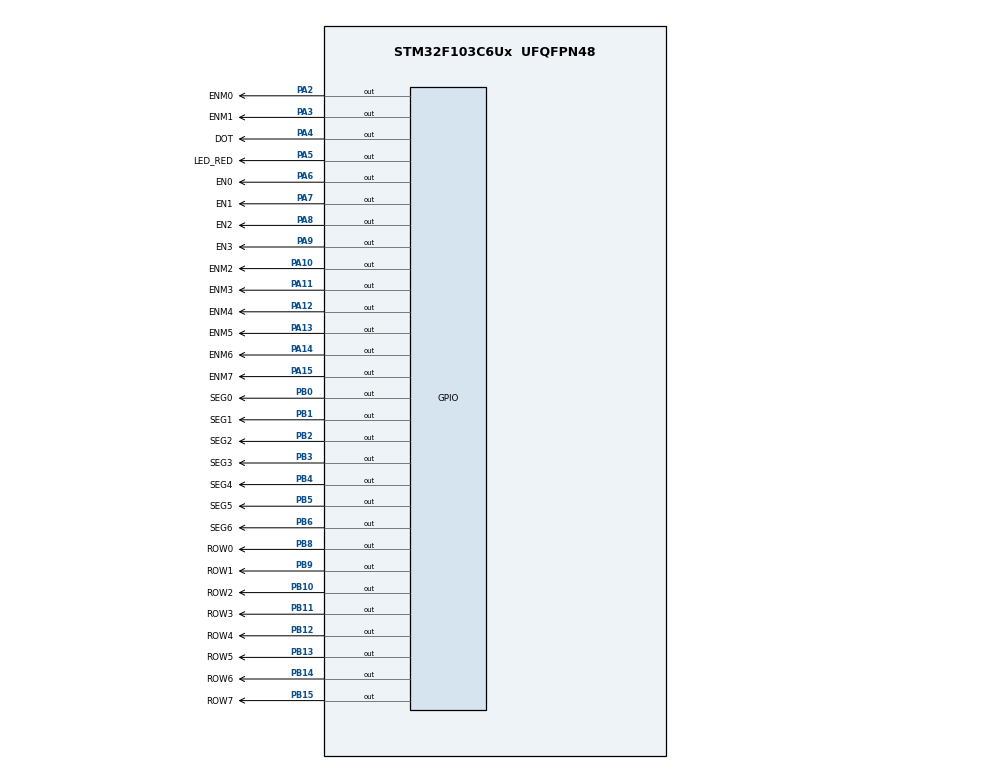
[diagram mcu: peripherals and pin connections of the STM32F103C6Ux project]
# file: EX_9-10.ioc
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Mcu.Family=STM32F1
Mcu.Name=STM32F103C6Ux
Mcu.Package=UFQFPN48
NVIC.PriorityGroup=NVIC_PRIORITYGROUP_4
NVIC.TIM2_IRQn=true\:0\:0\:false\:false\:true\:true\:true
PA10.GPIO_Label=ENM2
PA10.Signal=GPIO_Output
PA11.GPIO_Label=ENM3
PA11.Signal=GPIO_Output
PA12.GPIO_Label=ENM4
PA12.Signal=GPIO_Output
PA13.GPIO_Label=ENM5
PA13.Signal=GPIO_Output
PA14.GPIO_Label=ENM6
PA14.Signal=GPIO_Output
PA15.GPIO_Label=ENM7
PA15.Signal=GPIO_Output
PA2.GPIO_Label=ENM0
PA2.Signal=GPIO_Output
PA3.GPIO_Label=ENM1
PA3.Signal=GPIO_Output
PA4.GPIO_Label=DOT
PA4.Signal=GPIO_Output
PA5.GPIO_Label=LED_RED
PA5.Signal=GPIO_Output
PA6.GPIO_Label=EN0
PA6.Signal=GPIO_Output
PA7.GPIO_Label=EN1
PA7.Signal=GPIO_Output
PA8.GPIO_Label=EN2
PA8.Signal=GPIO_Output
PA9.GPIO_Label=EN3
PA9.Signal=GPIO_Output
PB0.GPIO_Label=SEG0
PB0.Signal=GPIO_Output
PB1.GPIO_Label=SEG1
PB1.Signal=GPIO_Output
PB10.GPIO_Label=ROW2
PB10.Signal=GPIO_Output
PB11.GPIO_Label=ROW3
PB11.Signal=GPIO_Output
PB12.GPIO_Label=ROW4
PB12.Signal=GPIO_Output
PB13.GPIO_Label=ROW5
PB13.Signal=GPIO_Output
PB14.GPIO_Label=ROW6
PB14.Signal=GPIO_Output
PB15.GPIO_Label=ROW7
PB15.Signal=GPIO_Output
PB2.GPIO_Label=SEG2
PB2.Signal=GPIO_Output
PB3.GPIO_Label=SEG3
PB3.Signal=GPIO_Output
PB4.GPIO_Label=SEG4
PB4.Signal=GPIO_Output
PB5.GPIO_Label=SEG5
PB5.Signal=GPIO_Output
PB6.GPIO_Label=SEG6
PB6.Signal=GPIO_Output
PB8.GPIO_Label=ROW0
PB8.Signal=GPIO_Output
PB9.GPIO_Label=ROW1
PB9.Signal=GPIO_Output
ProjectManager.HeapSize=0x200
ProjectManager.StackSize=0x400
ProjectManager.TargetToolchain=STM32CubeIDE
RCC.APB1Freq_Value=8000000
RCC.APB2Freq_Value=8000000
TIM2.Period=9
TIM2.Prescaler=7999
VP_SYS_VS_ND.Mode=No_Debug
VP_TIM2_VS_ClockSourceINT.Mode=Internal
board=custom

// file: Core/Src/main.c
/* USER CODE BEGIN Header */
/**
  ******************************************************************************
  * @file           : main.c
  * @brief          : Main program body
  ******************************************************************************
  * @attention
  *
  * <h2><center>&copy; Copyright (c) 2026 STMicroelectronics.
  * All rights reserved.</center></h2>
  *
  * This software component is licensed by ST under BSD 3-Clause license,
  * the "License"; You may not use this file except in compliance with the
  * License. You may obtain a copy of the License at:
  *                        opensource.org/licenses/BSD-3-Clause
  *
  ******************************************************************************
  */
/* USER CODE END Header */
#include "main.h"

/* USER CODE BEGIN PD */
#define SWITCH_TIME   250  /* 250ms per digit -> 4 digits = 1s = 1Hz scanning */
#define MATRIX_TIME   10   /* 10ms per matrix column (Exercise 9)            */
#define SHIFT_TIME    200  /* 200ms between shifts (Exercise 10)             */

#define ENABLE_SHIFT  1    /* 0 = Exercise 9 (static "A"), 1 = Exercise 10 (shift) */
/* USER CODE END PD */

TIM_HandleTypeDef htim2;

/* USER CODE BEGIN PV */
/* 7-segment clock (from Exercise 8) */
const int MAX_LED = 4;
int index_led = 0;
int led_buffer[4] = {0, 0, 0, 0};   /* filled by updateClockBuffer() */
int hour = 15, minute = 8, second = 50;

/* Exercise 10: scrolling text. The "A" followed by 8 blank columns, so the
   character leaves the screen completely before entering again from the right. */
#define SCROLL_LEN 16
const uint8_t scroll_buffer[SCROLL_LEN] = {
  0x00, 0x7C, 0x12, 0x11, 0x11, 0x12, 0x7C, 0x00,   /* "A"           */
  0x00, 0x00, 0x00, 0x00, 0x00, 0x00, 0x00, 0x00    /* blank gap     */
};
int scroll_pos = 0;   /* first column of scroll_buffer shown on the matrix */

/* LED matrix (Exercise 9) */
const int MAX_LED_MATRIX = 8;
int index_led_matrix = 0;

/* Column patterns for the letter "A". Each byte: bit r = ROWr (1 = LED on). */
uint8_t matrix_buffer[8] = {0x00, 0x7C, 0x12, 0x11, 0x11, 0x12, 0x7C, 0x00};

uint16_t ROW_PINS[8] = {ROW0_Pin, ROW1_Pin, ROW2_Pin, ROW3_Pin,
                         ROW4_Pin, ROW5_Pin, ROW6_Pin, ROW7_Pin};
uint16_t ENM_PINS[8] = {ENM0_Pin, ENM1_Pin, ENM2_Pin, ENM3_Pin,
                         ENM4_Pin, ENM5_Pin, ENM6_Pin, ENM7_Pin};
/* USER CODE END PV */

void SystemClock_Config(void);
static void MX_GPIO_Init(void);
static void MX_TIM2_Init(void);

/* USER CODE BEGIN 0 */
/* Software timers, counted down every timer interrupt (10ms)
   timer0: 1s tick for the clock and the DOT
   timer1: 250ms tick for 7-segment scanning
   timer2: 10ms tick for LED matrix column scanning (Exercise 9)
   timer3: 500ms tick for shifting the matrix (Exercise 10)      */
int timer0_counter = 0;
volatile int timer0_flag = 0;   /* volatile: set in the interrupt, read in main */
int timer1_counter = 0;
volatile int timer1_flag = 0;
int timer2_counter = 0;
volatile int timer2_flag = 0;
int timer3_counter = 0;
volatile int timer3_flag = 0;
int TIMER_CYCLE = 10;           /* timer interrupt period in ms */

void setTimer0(int duration)
{
  timer0_counter = duration / TIMER_CYCLE;
  timer0_flag = 0;
}

void setTimer1(int duration)
{
  timer1_counter = duration / TIMER_CYCLE;
  timer1_flag = 0;
}

void setTimer2(int duration)
{
  timer2_counter = duration / TIMER_CYCLE;
  timer2_flag = 0;
}

void setTimer3(int duration)
{
  timer3_counter = duration / TIMER_CYCLE;
  timer3_flag = 0;
}

void timer_run(void)
{
  if (timer0_counter > 0)
  {
    timer0_counter--;
    if (timer0_counter == 0) timer0_flag = 1;
  }
  if (timer1_counter > 0)
  {
    timer1_counter--;
    if (timer1_counter == 0) timer1_flag = 1;
  }
  if (timer2_counter > 0)
  {
    timer2_counter--;
    if (timer2_counter == 0) timer2_flag = 1;
  }
  if (timer3_counter > 0)
  {
    timer3_counter--;
    if (timer3_counter == 0) timer3_flag = 1;
  }
}

/* Common-anode 7-segment: a segment is ON when its pin is LOW.
   SEG0..SEG6 = a..g. Bit i of the table = segment i (1 = ON).            */
void display7SEG(int num)
{
  static const uint8_t SEG_TABLE[10] = {
    0x3F, /* 0 */ 0x06, /* 1 */ 0x5B, /* 2 */ 0x4F, /* 3 */ 0x66, /* 4 */
    0x6D, /* 5 */ 0x7D, /* 6 */ 0x07, /* 7 */ 0x7F, /* 8 */ 0x6F  /* 9 */
  };
  GPIO_TypeDef* const port[7] = {SEG0_GPIO_Port, SEG1_GPIO_Port, SEG2_GPIO_Port,
                                 SEG3_GPIO_Port, SEG4_GPIO_Port, SEG5_GPIO_Port,
                                 SEG6_GPIO_Port};
  const uint16_t pin[7] = {SEG0_Pin, SEG1_Pin, SEG2_Pin, SEG3_Pin,
                           SEG4_Pin, SEG5_Pin, SEG6_Pin};

  uint8_t code = (num >= 0 && num <= 9) ? SEG_TABLE[num] : 0x00; /* invalid -> blank */
  for (int i = 0; i < 7; i++)
  {
    HAL_GPIO_WritePin(port[i], pin[i], ((code >> i) & 1) ? GPIO_PIN_RESET : GPIO_PIN_SET);
  }
}

/* Show led_buffer[index] on 7-segment number 'index'.
   PNP transistors: a digit is ON when its EN pin is LOW.              */
void update7SEG(int index)
{
  /* All digits OFF first so the new number doesn't ghost on the old digit */
  HAL_GPIO_WritePin(EN0_GPIO_Port, EN0_Pin, GPIO_PIN_SET);
  HAL_GPIO_WritePin(EN1_GPIO_Port, EN1_Pin, GPIO_PIN_SET);
  HAL_GPIO_WritePin(EN2_GPIO_Port, EN2_Pin, GPIO_PIN_SET);
  HAL_GPIO_WritePin(EN3_GPIO_Port, EN3_Pin, GPIO_PIN_SET);

  switch (index)
  {
    case 0:
      display7SEG(led_buffer[0]);
      HAL_GPIO_WritePin(EN0_GPIO_Port, EN0_Pin, GPIO_PIN_RESET);
      break;
    case 1:
      display7SEG(led_buffer[1]);
      HAL_GPIO_WritePin(EN1_GPIO_Port, EN1_Pin, GPIO_PIN_RESET);
      break;
    case 2:
      display7SEG(led_buffer[2]);
      HAL_GPIO_WritePin(EN2_GPIO_Port, EN2_Pin, GPIO_PIN_RESET);
      break;
    case 3:
      display7SEG(led_buffer[3]);
      HAL_GPIO_WritePin(EN3_GPIO_Port, EN3_Pin, GPIO_PIN_RESET);
      break;
    default:
      break;
  }
}

/* Copy hour and minute into led_buffer as HH MM. */
void updateClockBuffer(void)
{
  led_buffer[0] = hour / 10;
  led_buffer[1] = hour % 10;
  led_buffer[2] = minute / 10;
  led_buffer[3] = minute % 10;
}

/* Exercise 9: display one column of matrix_buffer at a time (column scanning).
   Circuit logic (ULN2803 inverts, 100R pull-ups on the columns):
     ENMx = 1 -> ULN2803 pulls COLx LOW  -> column OFF
     ENMx = 0 -> pull-up keeps COLx HIGH -> column ON
     ROWr = 0 -> dot ON,  ROWr = 1 -> dot OFF                                  */
void updateLEDMatrix(int index)
{
  if (index < 0 || index >= MAX_LED_MATRIX) return;

  /* 1. Turn every column OFF so the previous column's data doesn't ghost */
  HAL_GPIO_WritePin(GPIOA, ENM0_Pin|ENM1_Pin|ENM2_Pin|ENM3_Pin
                          |ENM4_Pin|ENM5_Pin|ENM6_Pin|ENM7_Pin, GPIO_PIN_SET);

  /* 2. Load this column's dots onto the rows (active LOW) */
  uint8_t pattern = matrix_buffer[index];
  for (int row = 0; row < MAX_LED_MATRIX; row++)
  {
    HAL_GPIO_WritePin(GPIOB, ROW_PINS[row],
                      (pattern & (1 << row)) ? GPIO_PIN_RESET : GPIO_PIN_SET);
  }

  /* 3. Turn only the current column ON */
  HAL_GPIO_WritePin(GPIOA, ENM_PINS[index], GPIO_PIN_RESET);
}

/* Exercise 10: shift the displayed character left, wrapping around for a looping animation. */
void shiftLeftMatrix(void)
{
	scroll_pos++;
	  if (scroll_pos >= SCROLL_LEN) scroll_pos = 0;

	  for (int i = 0; i < MAX_LED_MATRIX; i++)
	  {
	    matrix_buffer[i] = scroll_buffer[(scroll_pos + i) % SCROLL_LEN];
	  }
}
/* USER CODE END 0 */

int main(void)
{

  /* MCU Configuration--------------------------------------------------------*/

  /* Reset of all peripherals, Initializes the Flash interface and the Systick. */
  HAL_Init();

  /* Configure the system clock */
  SystemClock_Config();

  /* Initialize all configured peripherals */
  MX_GPIO_Init();
  MX_TIM2_Init();
  /* USER CODE BEGIN 2 */
  /* Start with DOT and LED_RED off (HIGH = off) */
  HAL_GPIO_WritePin(DOT_GPIO_Port, DOT_Pin, GPIO_PIN_SET);
  HAL_GPIO_WritePin(LED_RED_GPIO_Port, LED_RED_Pin, GPIO_PIN_SET);

  /* Start with every matrix column OFF and every row OFF */
  HAL_GPIO_WritePin(GPIOA, ENM0_Pin|ENM1_Pin|ENM2_Pin|ENM3_Pin
                          |ENM4_Pin|ENM5_Pin|ENM6_Pin|ENM7_Pin, GPIO_PIN_SET);
  HAL_GPIO_WritePin(GPIOB, ROW0_Pin|ROW1_Pin|ROW2_Pin|ROW3_Pin
                          |ROW4_Pin|ROW5_Pin|ROW6_Pin|ROW7_Pin, GPIO_PIN_SET);

  /* Load the starting time and show the first digit */
  updateClockBuffer();
  update7SEG(index_led++);

  HAL_TIM_Base_Start_IT(&htim2);

  setTimer0(1000);          /* clock + DOT        */
  setTimer1(SWITCH_TIME);   /* 7-segment scanning */
  setTimer2(MATRIX_TIME);   /* matrix scanning    */
  setTimer3(SHIFT_TIME);    /* matrix shifting    */
  /* USER CODE END 2 */

  /* Infinite loop */
  /* USER CODE BEGIN WHILE */
  while (1)
  {
    /* Clock + DOT: every 1s (software timer 0) */
    if (timer0_flag == 1)
    {
      setTimer0(1000);
      HAL_GPIO_TogglePin(DOT_GPIO_Port, DOT_Pin);

      second++;
      if (second >= 60) { second = 0; minute++; }
      if (minute >= 60) { minute = 0; hour++; }
      if (hour >= 24)   { hour = 0; }
      updateClockBuffer();
    }

    /* 7-segment scanning: next digit every 250ms (software timer 1) */
    if (timer1_flag == 1)
    {
      setTimer1(SWITCH_TIME);
      if (index_led >= MAX_LED) index_led = 0;
      update7SEG(index_led++);
    }

    /* Exercise 9: LED matrix scanning, next column every 10ms (software timer 2) */
    if (timer2_flag == 1)
    {
      setTimer2(MATRIX_TIME);
      updateLEDMatrix(index_led_matrix++);
      if (index_led_matrix >= MAX_LED_MATRIX) index_led_matrix = 0;
    }

#if ENABLE_SHIFT
    /* Exercise 10: shift the character left every 500ms (software timer 3) */
    if (timer3_flag == 1)
    {
      setTimer3(SHIFT_TIME);
      shiftLeftMatrix();
    }
#endif
    /* USER CODE END WHILE */

  }
}

void SystemClock_Config(void)
{
  RCC_OscInitTypeDef RCC_OscInitStruct = {0};
  RCC_ClkInitTypeDef RCC_ClkInitStruct = {0};

  /** Initializes the RCC Oscillators according to the specified parameters
  * in the RCC_OscInitTypeDef structure.
  */
  RCC_OscInitStruct.OscillatorType = RCC_OSCILLATORTYPE_HSI;
  RCC_OscInitStruct.HSIState = RCC_HSI_ON;
  RCC_OscInitStruct.HSICalibrationValue = RCC_HSICALIBRATION_DEFAULT;
  RCC_OscInitStruct.PLL.PLLState = RCC_PLL_NONE;
  if (HAL_RCC_OscConfig(&RCC_OscInitStruct) != HAL_OK)
  {
    Error_Handler();
  }
  /** Initializes the CPU, AHB and APB buses clocks
  */
  RCC_ClkInitStruct.ClockType = RCC_CLOCKTYPE_HCLK|RCC_CLOCKTYPE_SYSCLK
                              |RCC_CLOCKTYPE_PCLK1|RCC_CLOCKTYPE_PCLK2;
  RCC_ClkInitStruct.SYSCLKSource = RCC_SYSCLKSOURCE_HSI;
  RCC_ClkInitStruct.AHBCLKDivider = RCC_SYSCLK_DIV1;
  RCC_ClkInitStruct.APB1CLKDivider = RCC_HCLK_DIV1;
  RCC_ClkInitStruct.APB2CLKDivider = RCC_HCLK_DIV1;

  if (HAL_RCC_ClockConfig(&RCC_ClkInitStruct, FLASH_LATENCY_0) != HAL_OK)
  {
    Error_Handler();
  }
}

static void MX_TIM2_Init(void)
{

  TIM_ClockConfigTypeDef sClockSourceConfig = {0};
  TIM_MasterConfigTypeDef sMasterConfig = {0};

  htim2.Instance = TIM2;
  htim2.Init.Prescaler = 7999;
  htim2.Init.CounterMode = TIM_COUNTERMODE_UP;
  htim2.Init.Period = 9;
  htim2.Init.ClockDivision = TIM_CLOCKDIVISION_DIV1;
  htim2.Init.AutoReloadPreload = TIM_AUTORELOAD_PRELOAD_DISABLE;
  if (HAL_TIM_Base_Init(&htim2) != HAL_OK)
  {
    Error_Handler();
  }
  sClockSourceConfig.ClockSource = TIM_CLOCKSOURCE_INTERNAL;
  if (HAL_TIM_ConfigClockSource(&htim2, &sClockSourceConfig) != HAL_OK)
  {
    Error_Handler();
  }
  sMasterConfig.MasterOutputTrigger = TIM_TRGO_RESET;
  sMasterConfig.MasterSlaveMode = TIM_MASTERSLAVEMODE_DISABLE;
  if (HAL_TIMEx_MasterConfigSynchronization(&htim2, &sMasterConfig) != HAL_OK)
  {
    Error_Handler();
  }

}

static void MX_GPIO_Init(void)
{
  GPIO_InitTypeDef GPIO_InitStruct = {0};

  /* GPIO Ports Clock Enable */
  __HAL_RCC_GPIOA_CLK_ENABLE();
  __HAL_RCC_GPIOB_CLK_ENABLE();

  /*Configure GPIO pin Output Level */
  HAL_GPIO_WritePin(GPIOA, ENM0_Pin|ENM1_Pin|DOT_Pin|LED_RED_Pin
                          |EN0_Pin|EN1_Pin|EN2_Pin|EN3_Pin
                          |ENM2_Pin|ENM3_Pin|ENM4_Pin|ENM5_Pin
                          |ENM6_Pin|ENM7_Pin, GPIO_PIN_RESET);

  /*Configure GPIO pin Output Level */
  HAL_GPIO_WritePin(GPIOB, SEG0_Pin|SEG1_Pin|SEG2_Pin|ROW2_Pin
                          |ROW3_Pin|ROW4_Pin|ROW5_Pin|ROW6_Pin
                          |ROW7_Pin|SEG3_Pin|SEG4_Pin|SEG5_Pin
                          |SEG6_Pin|ROW0_Pin|ROW1_Pin, GPIO_PIN_RESET);

  /*Configure GPIO pins : ENM0_Pin ENM1_Pin DOT_Pin LED_RED_Pin
                           EN0_Pin EN1_Pin EN2_Pin EN3_Pin
                           ENM2_Pin ENM3_Pin ENM4_Pin ENM5_Pin
                           ENM6_Pin ENM7_Pin */
  GPIO_InitStruct.Pin = ENM0_Pin|ENM1_Pin|DOT_Pin|LED_RED_Pin
                          |EN0_Pin|EN1_Pin|EN2_Pin|EN3_Pin
                          |ENM2_Pin|ENM3_Pin|ENM4_Pin|ENM5_Pin
                          |ENM6_Pin|ENM7_Pin;
  GPIO_InitStruct.Mode = GPIO_MODE_OUTPUT_PP;
  GPIO_InitStruct.Pull = GPIO_NOPULL;
  GPIO_InitStruct.Speed = GPIO_SPEED_FREQ_LOW;
  HAL_GPIO_Init(GPIOA, &GPIO_InitStruct);

  /*Configure GPIO pins : SEG0_Pin SEG1_Pin SEG2_Pin ROW2_Pin
                           ROW3_Pin ROW4_Pin ROW5_Pin ROW6_Pin
                           ROW7_Pin SEG3_Pin SEG4_Pin SEG5_Pin
                           SEG6_Pin ROW0_Pin ROW1_Pin */
  GPIO_InitStruct.Pin = SEG0_Pin|SEG1_Pin|SEG2_Pin|ROW2_Pin
                          |ROW3_Pin|ROW4_Pin|ROW5_Pin|ROW6_Pin
                          |ROW7_Pin|SEG3_Pin|SEG4_Pin|SEG5_Pin
                          |SEG6_Pin|ROW0_Pin|ROW1_Pin;
  GPIO_InitStruct.Mode = GPIO_MODE_OUTPUT_PP;
  GPIO_InitStruct.Pull = GPIO_NOPULL;
  GPIO_InitStruct.Speed = GPIO_SPEED_FREQ_LOW;
  HAL_GPIO_Init(GPIOB, &GPIO_InitStruct);

}

/* USER CODE BEGIN 4 */
/* The interrupt (every 10ms) only runs the software timers.
   All processing is done in the main loop (Exercise 8 rule). */
void HAL_TIM_PeriodElapsedCallback(TIM_HandleTypeDef *htim)
{
  if (htim->Instance != TIM2) return;

  timer_run();
}
/* USER CODE END 4 */

void Error_Handler(void)
{
  __disable_irq();
  while (1)
  {
  }
}

/************************ (C) COPYRIGHT STMicroelectronics *****END OF FILE****/
